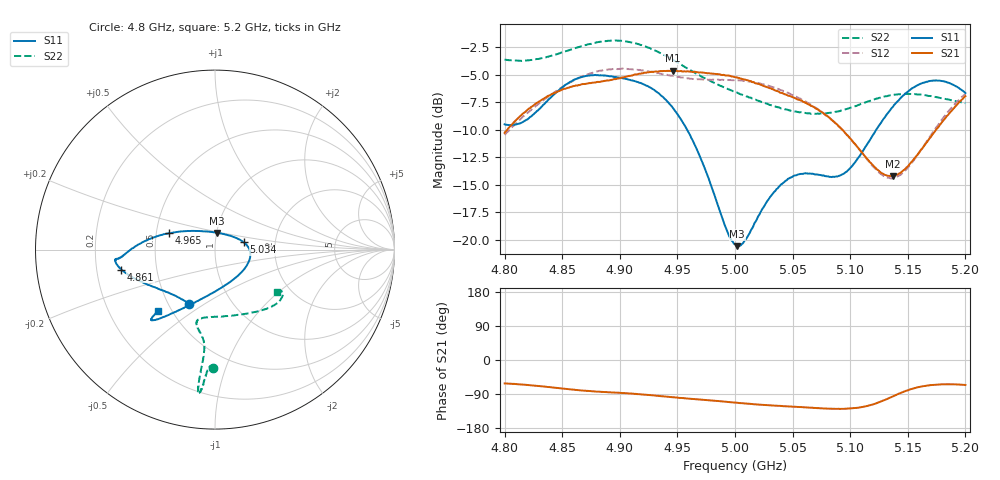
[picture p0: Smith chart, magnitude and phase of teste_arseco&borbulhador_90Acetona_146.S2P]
! Network Analyzer HP8722D
! Hewlett-Packard
! Data name: Linha & Wilkinson
! Saver's name: Rodrigo Anjos
! Comments: Teste da utilização de aquisição
! continua pelo VNA HP8722D
! Time and date: 17/4/2025 12:16
!  Frequency  S11  S21  S12  S22
# HZ  S  MA R 50
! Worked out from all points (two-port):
!   401 points, 4.8 GHz to 5.2 GHz, reference 50 ohm
!   highest |S21| = -4.64 dB at 4.946 GHz (marker M1); lowest = -14.2 dB at 5.137 GHz (marker M2)
!   |S21| within 3 dB of the highest: 4.827 GHz to 5.063 GHz (235.8 MHz wide, 4.77 % of centre); 5.193424 GHz to end of sweep
!   lowest |S11| = -20.6 dB at 5.002 GHz (marker M3), VSWR 1.21, Z = 50.3 + j9.45 ohm
!   |S11| at or under -10 dB: 4.958 GHz to 5.123 GHz (164.1 MHz wide, 3.26 % of centre)
!   |S22| runs from -8.6 to -1.9 dB; largest |S21 - S12| = 0.88
!   S11 on the Smith chart (normalised r, x): 4.8 GHz: 0.63, -0.43; 4.861 GHz: 0.31, -0.10; 4.965 GHz: 0.59, +0.12; 5.034 GHz: 1.38, +0.12; 5.2 GHz: 0.42, -0.37
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4.8e9  0.3347 -116.0  0.3063 -61.9  0.2999 -176.1  0.6576 -90.7
4.819e9  0.3511 -136.2  0.3856 -65.7  0.3741 -175.3  0.6523 -92.4
4.861e9  0.5347 -168.0  0.5 -78.7  0.5337 -178.6  0.7396 -94.9
4.867e9  0.5484 -170.4  0.5086 -80.5  0.5502 -179.7  0.7573 -95.1
4.901e9  0.5441 -174.8  0.5435 -86.9  0.5968 173.7  0.8001 -96.6
4.934e9  0.4621 179.2  0.5824 -95.0  0.571 170.7  0.7088 -96.8
4.946e9  0.3979 173.5  0.5859 -98.3  0.555 171.0  0.6578 -96.6
4.965e9  0.2708 160.2  0.5805 -103.4  0.5364 172.7  0.5737 -96.1
4.993e9  0.1106 114.2  0.5573 -110.4  0.5319 174.7  0.4861 -98.7
5e9  0.09596 90.4  0.5475 -112.5  0.5321 174.9  0.4692 -100.0
5.002e9  0.09383 82.9  0.5455 -112.9  0.5302 174.9  0.4661 -100.6
5.009e9  0.1003 59.0  0.5337 -114.8  0.5275 174.6  0.4496 -102.0
5.034e9  0.1653 14.3  0.4792 -120.4  0.4908 173.4  0.4044 -103.8
5.05e9  0.1938 -1.2  0.4444 -123.3  0.4546 172.8  0.3845 -99.3
5.067e9  0.1999 -19.5  0.4047 -125.9  0.4071 172.5  0.3744 -89.8
5.096e9  0.2031 -70.2  0.3044 -128.6  0.3042 174.4  0.3914 -67.0
5.121e9  0.306 -109.6  0.2145 -116.1  0.2127 -170.9  0.4342 -49.9
5.134e9  0.384 -119.9  0.1954 -100.1  0.191 -153.2  0.4524 -43.3
5.137e9  0.4014 -121.6  0.1946 -96.1  0.1915 -148.4  0.4548 -42.1
5.151e9  0.4749 -127.6  0.219 -78.8  0.2157 -128.2  0.4598 -37.1
5.17e9  0.5266 -131.6  0.2932 -66.2  0.2983 -112.4  0.4496 -32.9
5.2e9  0.464 -132.9  0.4492 -66.0  0.4603 -108.0  0.4173 -34.6
